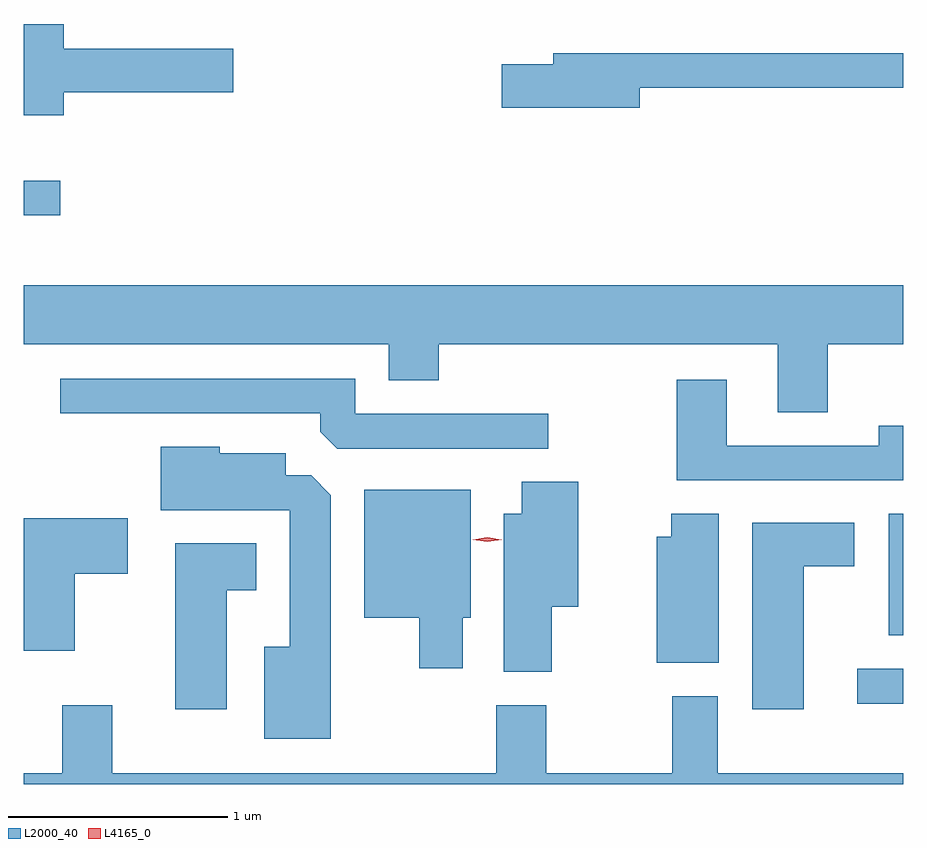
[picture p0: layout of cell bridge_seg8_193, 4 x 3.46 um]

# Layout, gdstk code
import gdstk
lib = gdstk.Library(unit=1e-6, precision=1e-09)
def R(c, l, rs):  # rectangles x0, y0, x1, y1
    for r in rs: c.add(gdstk.rectangle(r[:2], r[2:], *l))
def P(c, l, *ps):  # polygons
    for p in ps: c.add(gdstk.Polygon(p, *l))
L2000_40 = (2000, 40)
L4165_0 = (4165, 0)

bridge_seg8_193 = lib.new_cell('bridge_seg8_193')
R(bridge_seg8_193, L2000_40, [(1062.333,1941.341,1062.542,1941.499), (1062.476,1941.651,1062.542,1942.204), (1058.542,1943.561,1058.708,1943.719)])
P(bridge_seg8_193, L2000_40, [(1058.724,1944.121),(1059.494,1944.121),(1059.494,1944.319),(1058.724,1944.319),(1058.724,1944.432),(1058.542,1944.432),(1058.542,1944.016),(1058.724,1944.016)],
  [(1061.344,1944.141),(1062.542,1944.141),(1062.542,1944.299),(1060.951,1944.299),(1060.951,1944.249),(1060.716,1944.249),(1060.716,1944.051),(1061.344,1944.051)],
  [(1062.199,1942.976),(1062.542,1942.976),(1062.542,1943.244),(1058.542,1943.244),(1058.542,1942.976),(1060.201,1942.976),(1060.201,1942.811),(1060.429,1942.811),(1060.429,1942.976),(1061.971,1942.976),(1061.971,1942.666),(1062.199,1942.666)],
  [(1060.928,1942.659),(1060.049,1942.659),(1060.049,1942.819),(1058.708,1942.819),(1058.708,1942.661),(1059.891,1942.661),(1059.891,1942.577),(1059.967,1942.501),(1060.928,1942.501)],
  [(1062.542,1942.604),(1062.431,1942.604),(1062.431,1942.514),(1061.739,1942.514),(1061.739,1942.814),(1061.511,1942.814),(1061.511,1942.356),(1062.542,1942.356)],
  [(1059.939,1942.289),(1059.849,1942.379),(1059.734,1942.379),(1059.734,1942.479),(1059.434,1942.479),(1059.434,1942.509),(1059.166,1942.509),(1059.166,1942.221),(1059.751,1942.221),(1059.751,1941.599),(1059.636,1941.599),(1059.636,1941.181),(1059.939,1941.181)],
  [(1060.944,1941.781),(1061.064,1941.781),(1061.064,1942.349),(1060.806,1942.349),(1060.806,1942.204),(1060.726,1942.204),(1060.726,1941.486),(1060.944,1941.486)],
  [(1060.539,1941.731),(1060.574,1941.731),(1060.574,1942.314),(1060.091,1942.314),(1060.091,1941.731),(1060.341,1941.731),(1060.341,1941.501),(1060.539,1941.501)],
  [(1061.704,1942.204),(1061.486,1942.204),(1061.486,1942.099),(1061.421,1942.099),(1061.421,1941.526),(1061.704,1941.526)],
  [(1058.774,1941.931),(1059.014,1941.931),(1059.014,1942.184),(1058.542,1942.184),(1058.542,1941.581),(1058.774,1941.581)],
  [(1062.089,1941.966),(1062.319,1941.966),(1062.319,1942.164),(1061.856,1942.164),(1061.856,1941.316),(1062.089,1941.316)],
  [(1059.464,1941.856),(1059.599,1941.856),(1059.599,1942.069),(1059.231,1942.069),(1059.231,1941.316),(1059.464,1941.316)],
  [(1062.542,1941.024),(1061.699,1941.024),(1061.699,1941.374),(1061.491,1941.374),(1061.491,1941.024),(1060.919,1941.024),(1060.919,1941.334),(1060.691,1941.334),(1060.691,1941.024),(1058.944,1941.024),(1058.944,1941.334),(1058.716,1941.334),(1058.716,1941.024),(1058.542,1941.024),(1058.542,1940.975),(1062.542,1940.975)])
P(bridge_seg8_193, L4165_0, [(1060.651,1942.077),(1060.584,1942.086),(1060.584,1942.087),(1060.584,1942.087),(1060.651,1942.097),(1060.717,1942.087),(1060.717,1942.087),(1060.717,1942.086)])

lib.write_gds('bridge_seg8_193.gds')
